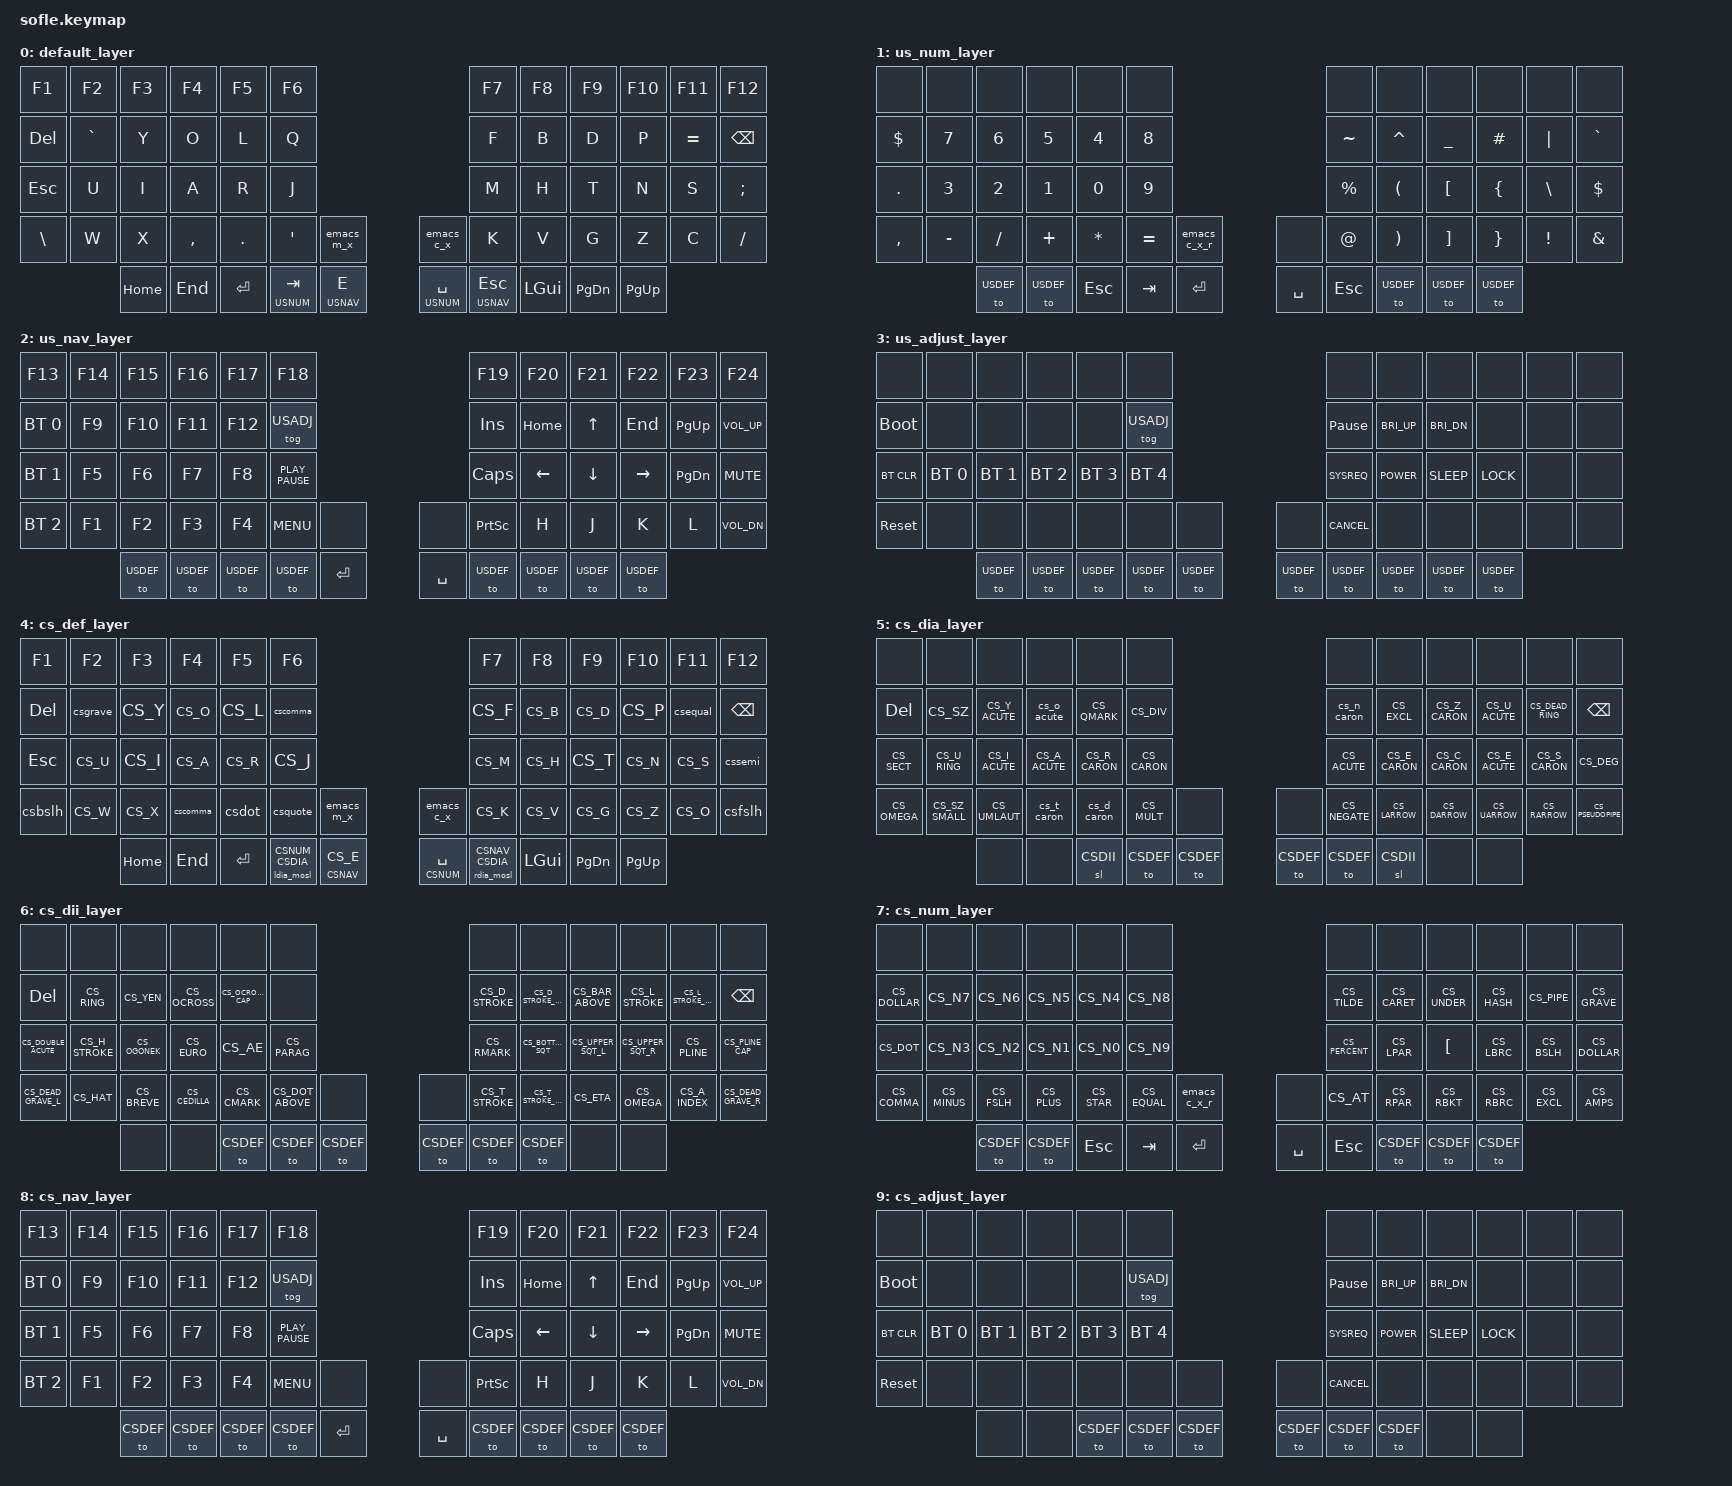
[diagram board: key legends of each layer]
/*
 * Copyright (c) 2020 The ZMK Contributors
 *
 * SPDX-License-Identifier: MIT
 */

#include <behaviors.dtsi>
#include <dt-bindings/zmk/keys.h>
#include <dt-bindings/zmk/bt.h>

// Czech Linux keyboard
#include "keys_cs.h"

// Layer numbers
#define USDEF 0
#define USNUM 1
#define USNAV 2
#define USADJ 3
#define CSDEF 4
#define CSDIA 5
#define CSDII 6
#define CSNUM 7
#define CSNAV 8
#define CSADJ 9

// Other number definitions
#define TAPPING_TERM 150
#define SHIFT_TAP_MS 170
#define QUICK_TAP_MS 110
#define PRIOR_IDLE_MS 150
#define COMBO_TIME_MS 25

// Behavior customizations
// settings and homerow mods inspired by https://github.com/urob/zmk-config/

&sk {
    release-after-ms = <900>;
    quick-release;
};

&sl {
    ignore-modifiers;
};

&lt {
    flavor = "balanced";
    tapping-term-ms = <TAPPING_TERM>;
    quick-tap-ms = <QUICK_TAP_MS>;
};

&mt {
    quick_tap_ms = <QUICK_TAP_MS>;
};

// ZMK feature macros
// https://github.com/filterpaper/zmk-config

//additional  arguments for hold-trigger-key-positions and hold-trigger-on-release
// customizable hold-tap for keypress
#define HTK(name, tap_flavor, tap_term, ...)    \
  name: name##_hold_tap {                       \
    flavor          = #tap_flavor;              \
    compatible      = "zmk,behavior-hold-tap";  \
    tapping-term-ms = <tap_term>;               \
    quick-tap-ms    = <QUICK_TAP_MS>;           \
    require-prior-idle-ms = <PRIOR_IDLE_MS>;    \
    #binding-cells  = <2>;                      \
    bindings        = <&kp>, <&kp>;             \
    __VA_ARGS__                                 \
      };

// customizable hold-tap for sticky modifier
// first modifier
// second sticky modifier
#define HTKPSK(name, tap_flavor, tap_term, ...)    \
  name: name##_hold_tap {                       \
    flavor          = #tap_flavor;              \
    compatible      = "zmk,behavior-hold-tap";  \
    tapping-term-ms = <tap_term>;               \
    quick-tap-ms    = <QUICK_TAP_MS>;           \
    require-prior-idle-ms = <PRIOR_IDLE_MS>;    \
    #binding-cells  = <2>;                      \
    bindings        = <&kp>, <&sk>;             \
    __VA_ARGS__                                 \
      };


// customizeble hold-tap for any behavior
#define HTMOSL(name, tap_flavor, tap_term, ...) \
  name: name##_hold_tap {                       \
    flavor          = #tap_flavor;              \
    compatible      = "zmk,behavior-hold-tap";  \
    tapping-term-ms = <tap_term>;               \
    quick-tap-ms    = <QUICK_TAP_MS>;           \
    require-prior-idle-ms = <PRIOR_IDLE_MS>;    \
    #binding-cells = <2>;                       \
    bindings        = <&mo>, <&sl>;             \
    __VA_ARGS__                                 \
      };

// one-line combos
#define COMBO(name, pos, lrs, kp)               \
  combo_##name {                                \
    timeout-ms    = <25>;                       \
    bindings      = <kp>;                       \
    key-positions = <pos>;                      \
    layers        = <lrs>;                      \
  };

// one-line macros
#define MACRO(name, ...)                        \
  name: name##_macro {                          \
    compatible     = "zmk,behavior-macro";      \
    tap-ms         = <1>;                       \
    wait-ms        = <1>;                       \
    #binding-cells = <0>;                       \
    bindings       = __VA_ARGS__                \
  };

/ {
    macros {
        // Czech symbols
        MACRO(cs_t_caron, <&macro_tap &kp CS_CARON &kp CS_T>;)
        MACRO(cs_n_caron, <&macro_tap &kp CS_CARON &kp CS_N>;)
        MACRO(cs_d_caron, <&macro_tap &kp CS_CARON &kp CS_D>;)
        MACRO(cs_o_acute, <&macro_tap &kp CS_ACUTE &kp CS_O>;)
        // US shortcuts
        MACRO(us_th, <&macro_tap &kp T &kp H>;)
        MACRO(us_ing, <&macro_tap &kp I &kp N &kp G>;)
        MACRO(us_and, <&macro_tap &kp SPACE &kp A &kp N &kp D &kp SPACE>;)
        // Emacs convenience macros
        MACRO(emacs_c_x, <&macro_press &kp LCTRL>, <&macro_tap &kp X>, <&macro_release &kp LCTRL>;)
        MACRO(emacs_c_y, <&macro_press &kp LCTRL>, <&macro_tap &kp Y>, <&macro_release &kp LCTRL>;)
        MACRO(emacs_c_z, <&macro_press &kp LCTRL>, <&macro_tap &kp Y>, <&macro_release &kp LCTRL>;)
        MACRO(emacs_c_x_e, <&macro_press &kp LCTRL> , <&macro_tap &kp X> , <&macro_release &kp LCTRL> , <&macro_tap &kp E>;)
        MACRO(emacs_c_w, <&macro_press &kp LCTRL> , <&macro_tap &kp W> , <&macro_release &kp LCTRL>;)
        MACRO(emacs_c_x_u, <&macro_press &kp LCTRL> , <&macro_tap &kp X> , <&macro_release &kp LCTRL> , <&macro_tap &kp U>;)
        MACRO(emacs_c_x_r, <&macro_press &kp LCTRL> , <&macro_tap &kp X> , <&macro_release &kp LCTRL> , <&macro_tap &kp R>;)
        MACRO(emacs_m_x, <&macro_press &kp LALT> , <&macro_tap &kp X> , <&macro_release &kp LALT>;)
        MACRO(emacs_m_w, <&macro_press &kp LALT> , <&macro_tap &kp W> , <&macro_release &kp LALT>;)
        MACRO(emacs_m_y, <&macro_press &kp LALT> , <&macro_tap &kp Y> , <&macro_release &kp LALT>;)
        MACRO(emacs_m_z, <&macro_press &kp LALT> , <&macro_tap &kp Y> , <&macro_release &kp LALT>;)
        // General convenience macros
        MACRO(input_lng, <&macro_press &kp LCTRL> , <&macro_press &kp LALT> , <&macro_tap &kp K> , <&macro_release &kp LCTRL> , <&macro_release &kp LALT>;)
    };

    behaviors {
            HTK(lhrm, balanced, TAPPING_TERM)
            HTK(rhrm, balanced, TAPPING_TERM)
            HTMOSL(ldia_mosl, hold-preferred, TAPPING_TERM)
            HTMOSL(rdia_mosl, hold-preferred, TAPPING_TERM)
            HTKPSK(kpsk, balanced, TAPPING_TERM)
            csquote: csquote {                                      
                //label          = "csquote";
                compatible     = "zmk,behavior-mod-morph";          
                #binding-cells = <0>;                               
                bindings       = <&kp CS_SQT>, <&kp CS_DQT>;        
                mods           = <(MOD_LSFT|MOD_RSFT)>;             
            };
            csbslh: csbslh {                                        
                //label          = "csbslh";
                compatible     = "zmk,behavior-mod-morph";          
                #binding-cells = <0>;                               
                bindings       = <&kp CS_BSLH>, <&kp CS_PIPE>;      
                mods           = <(MOD_LSFT|MOD_RSFT)>;             
            };
            csdot: csdot {                                          
                //label          = "csdot";
                compatible     = "zmk,behavior-mod-morph";          
                #binding-cells = <0>;                               
                bindings       = <&kp CS_DOT>, <&kp CS_LT>;         
                mods           = <(MOD_LSFT|MOD_RSFT)>;             
            };
            cscomma: cscomma {                                      
                //label          = "cscomma";
                compatible     = "zmk,behavior-mod-morph";          
                #binding-cells = <0>;                               
                bindings       = <&kp CS_COMMA>, <&kp CS_GT>;       
                mods           = <(MOD_LSFT|MOD_RSFT)>;             
            };
            csfslh: csfslh {                                        
                //label          = "csfslh";
                compatible     = "zmk,behavior-mod-morph";          
                #binding-cells = <0>;                               
                bindings       = <&kp CS_FSLH>, <&kp CS_QMARK>;     
                mods           = <(MOD_LSFT|MOD_RSFT)>;             
            };
            cssemi: cssemi {                                        
                //label          = "cssemi";
                compatible     = "zmk,behavior-mod-morph";          
                #binding-cells = <0>;                               
                bindings       = <&kp CS_SEMI>, <&kp CS_COLON>;     
                mods           = <(MOD_LSFT|MOD_RSFT)>;             
            };
            csgrave: csgrave {                                      
                //label          = "cssemi";
                compatible     = "zmk,behavior-mod-morph";          
                #binding-cells = <0>;                               
                bindings       = <&kp CS_GRAVE>, <&kp CS_TILDE>;    
                mods           = <(MOD_LSFT|MOD_RSFT)>;             
            };
            csequal: csequal {                                      
                //label          = "cssemi";
                compatible     = "zmk,behavior-mod-morph";          
                #binding-cells = <0>;                               
                bindings       = <&kp CS_EQUAL>, <&kp CS_PLUS>;     
                mods           = <(MOD_LSFT|MOD_RSFT)>;             
            };
        };

    combos {
  // ------------------------------------------------------------------------------------------------------------
  // |  0    |  1  |  2  |  3   |  4   |  5   |          x         |  6   |  7    |  8    |  9   |  10   |  11   |
  // |  12   |  13 |  14 |  15  |  16  |  17  |          x         |  18  |  19   |  20   |  21  |  22   |  23   |
  // |  24   |  25 |  26 |  27  |  28  |  29  |          x         |  30  |  31   |  32   |  33  |  34   |  35   |
  // |  36   |  37 |  38 |  39  |  40  |  41  |  42    | x |  43   |  44  |  45   |  46   |  47  |  48   |  49   |
  //               |  50 |  51  |  52  |  53  |  54    | x |  55   |  56  |  57   |  58   |  59  |
  //
  // ------------------------------------------------------------------------------------------------------------
  // |  0    |  1  |  2  |  3   |  4   |  5   |          x         |  6   |  7    |  8    |  9   |  10   |  11   |
  // |    R A L T  |  P L U S   |  E X C L    |          x         |  Q M A R K   |   S T A R    |    R A L T    |
  // |   TOG  LANG |   T A B    | U N D E R   |          x         |  C A R E T   |   E N T E R  |    L G U I    |
  // |   TOG   NAV |  M I N U S |    A T      |  42    | x |  43   |   H A S H    |   F S L H    |   TOG   NUM   |
  //               |  50 |  51  |  52  |  53  |  54    | x |  55   |  56  |  57   |  58   |  59  |
  //
  // ------------------------------------------------------------------------------------------------------------
  // |  0    |  1  |  2  |   3   |  4  |  5   |          x         |  6   |   7   |  8    |  9  |   10   |  11   |
  // |  12   |  13 |  14 |   C O P Y   |  17  |          x         |  18  |   L B K T     |   R B K T    |  23   |
  // |  24   |  DOLLAR   |  P A S T E  |  29  |          x         |  30  |   L P A R     |   R P A R    |  35   |
  // |  36   |  PERCENT  |   A M P S   |  41  |  42    | x |  43   |  44  |   L B R C     |   R B R C    |  49   |
  //               |  50 |  51  |  52  |  53  |  54    | x |  55   |  56  |  57   |  58   |  59  |
  //
    compatible = "zmk,combos";
    COMBO(lag, 12 13, USDEF USNUM CSDEF CSNUM, &kp RALT)
    COMBO(rag, 22 23, USDEF USNUM CSDEF CSNUM, &kp RALT)
    COMBO(csdeflayer, 24 25, USDEF, &to CSDEF)
    COMBO(usdeflayer, 24 25, CSDEF, &to USDEF)
    COMBO(usnavlayer, 36 37, USDEF, &to USNAV)
    COMBO(usnavretrn, 36 37, USNAV, &to USDEF)
    COMBO(usnumlayer, 46 47, USDEF, &to USNUM)
    COMBO(usnumretrn, 46 47, USNUM, &to USDEF)
    COMBO(csnavlayer, 36 37, CSDEF, &to CSNAV)
    COMBO(csnavretrn, 36 37, CSNAV, &to CSDEF)
    COMBO(csnumlayer, 46 47, CSDEF, &to CSNUM)
    COMBO(csnumretrn, 46 47, CSNUM, &to CSDEF)
    COMBO(copy, 15 16, USDEF CSDEF, &kp K_COPY)
    COMBO(paste, 27 28, USDEF CSDEF, &kp K_PASTE)
    COMBO(tab, 26 27, USDEF CSDEF, &kp TAB)
    COMBO(enter, 32 33, USDEF CSDEF, &kp ENTER)

  // ------------------------------------------------------------------------------------------------------------
  // |  0    |  1  |  2  |  3   |  4   |  5   |          x         |  6   |  7    |  8    |  9   |  10   |  11   |
  // | TIL   |  RG |  LA |  LC  |  LS  |  COL |          x         |  DQ  |  LS   |  LC   |  LA  |  RG   |  23   |
  // | DE  L |  UI |  LT |  TRL |  HFT |   ON |          x         |   T  |  HFT  |  TRL  |  LT  |  UI   |   G   |
  // |  36   |  37 |  38 |  39  |  40  |  41  |  42    | x |  43   |  44  |  45   |  46   |  47  |  48   |  49   |
  //               |  50 |  51  |  52  |  53  |  54    | x |  55   |  56  |  57   |  58   |  59  |
  //
    COMBO(crshft, 19 31, USDEF USNUM USNAV CSDEF CSNUM CSNAV, &kpsk RSHFT RSHFT)
    COMBO(clshft, 16 28, USDEF USNUM USNAV CSDEF CSNUM CSNAV, &kpsk LSHFT LSHFT)
    COMBO(crctrl, 20 32, USDEF USNUM USNAV CSDEF CSNUM CSNAV, &kpsk RCTRL RCTRL)
    COMBO(clctrl, 15 27, USDEF  USNUM USNAV CSDEF CSNUM CSNAV, &kpsk LCTRL LCTRL)
    COMBO(cllalt, 21 33, USDEF USNUM USNAV CSDEF CSNUM CSNAV, &kpsk LALT LALT)
    COMBO(crlalt, 14 26, USDEF USNUM USNAV CSDEF CSNUM CSNAV, &kpsk LALT LALT)
    COMBO(clgui, 22 34, USDEF USNUM USNAV CSDEF CSNUM CSNAV, &kpsk LGUI LGUI)
    COMBO(crgui, 13 25, USDEF USNUM USNAV CSDEF CSNUM CSNAV, &kpsk LGUI LGUI)
    COMBO(ccrgui, 34 35, USDEF USNUM USNAV CSDEF CSNUM CSNAV, &kp LGUI)
    COMBO(usstar, 20 21, USDEF, &kp STAR)
    COMBO(csstar, 20 21, CSDEF, &kp CS_STAR)
    COMBO(usfslh, 44 45, USDEF, &kp FSLH)
    COMBO(csfslh, 44 45, CSDEF, &kp CS_FSLH)
    COMBO(usplus, 14 15, USDEF, &kp PLUS)
    COMBO(csplus, 14 15, CSDEF, &kp CS_PLUS)
    COMBO(usminus, 38 39, USDEF, &kp MINUS)
    COMBO(csminus, 38 39, CSDEF, &kp CS_MINUS)
    COMBO(uscaret, 30 31, USDEF, &kp CARET)
    COMBO(cscaret, 30 31, CSDEF, &kp CS_CARET)
    COMBO(usunder, 28 29, USDEF, &kp UNDER)
    COMBO(csunder, 28 29, CSDEF, &kp CS_UNDER)
    COMBO(usdollr, 25 26, USDEF, &kp DOLLAR)
    COMBO(csdollr, 25 26, CSDEF, &kp CS_DOLLAR)
    COMBO(usamps, 39 40, USDEF, &kp AMPS)
    COMBO(csamps, 39 40, CSDEF, &kp CS_AMPS)
    COMBO(usat, 40 41, USDEF, &kp AT)
    COMBO(csat, 40 41, CSDEF, &kp CS_AT)
    COMBO(usprcnt, 37 38, USDEF, &kp PERCENT)
    COMBO(csprcnt, 37 38, CSDEF, &kp CS_PERCENT)
    COMBO(ushash, 42 43, USDEF, &kp HASH)
    COMBO(cshash, 42 43, CSDEF, &kp CS_HASH)
    COMBO(uslpar, 31 32, USDEF, &kp LPAR)
    COMBO(cslpar, 31 32, CSDEF, &kp CS_LPAR)
    COMBO(usrpar, 33 34, USDEF, &kp RPAR)
    COMBO(csrpar, 33 34, CSDEF, &kp CS_RPAR)
    COMBO(uslbkt, 19 20, USDEF, &kp LBKT)
    COMBO(cslbkt, 19 20, CSDEF, &kp CS_LBKT)
    COMBO(usrbkt, 21 22 , USDEF, &kp RBKT)
    COMBO(csrbkt, 21 22 , CSDEF, &kp CS_RBKT)
    COMBO(uslbrc, 43 44, USDEF, &kp LBRC)
    COMBO(cslbrc, 43 44, CSDEF, &kp CS_LBRC)
    COMBO(usrbrc, 45 46, USDEF, &kp RBRC)
    COMBO(csrbrc, 45 46, CSDEF, &kp CS_RBRC)
    COMBO(usexcl, 16 17, USDEF, &kp EXCL)
    COMBO(csexcl, 16 17, CSDEF, &kp CS_EXCL)
    COMBO(usqmark, 18 19, USDEF, &kp QMARK)
    COMBO(csqmark, 18 19, CSDEF, &kp CS_QMARK)
    COMBO(ustilde, 12 24, USDEF, &kp TILDE)
    COMBO(cstilde, 12 24, CSDEF, &kp CS_TILDE)
    COMBO(uslt, 24 36, USDEF, &kp LT)
    COMBO(cslt, 24 36, CSDEF, &kp CS_LT)
    COMBO(usgt, 35 47, USDEF, &kp GT)
    COMBO(csgt, 35 47, CSDEF, &kp CS_GT)
    COMBO(uscolon, 17 29, USDEF, &kp COLON)
    COMBO(cscolon, 17 29, CSDEF, &kp CS_COLON)
    COMBO(usdqt, 18 30, USDEF, &kp DQT)
    COMBO(csdqt, 18 30, CSDEF, &kp CS_DQT)
    COMBO(uszero, 31 45, USDEF, &kp N0)
    COMBO(cszero, 31 45, CSDEF, &kp CS_N0)
    COMBO(ustwo, 32 46, USDEF, &kp N2)
    COMBO(cstwo, 32 46, CSDEF, &kp CS_N2)
    COMBO(usfour, 33 47, USDEF, &kp N4)
    COMBO(csfour, 33 47, CSDEF, &kp CS_N4)
    COMBO(ussix, 34 48, USDEF, &kp N6)
    COMBO(cssix, 34 48, CSDEF, &kp CS_N6)
    COMBO(useight, 29 41, USDEF, &kp N8)
    COMBO(cseight, 29 41, CSDEF, &kp CS_N8)
    COMBO(usone, 28 40, USDEF, &kp N1)
    COMBO(csone, 28 40, CSDEF, &kp CS_N1)
    COMBO(usthree, 27 39, USDEF, &kp N3)
    COMBO(csthree, 27 39, CSDEF, &kp CS_N3)
    COMBO(usfive, 26 38, USDEF, &kp N5)
    COMBO(csfive, 26 38, CSDEF, &kp CS_N5)
    COMBO(usseven, 25 37, USDEF, &kp N7)
    COMBO(csseven, 25 37, CSDEF, &kp CS_N7)
    COMBO(usnine, 30 44, USDEF, &kp N9)
    COMBO(csnine, 30 44, CSDEF, &kp CS_N9)    
  };

    keymap {
        compatible = "zmk,keymap";

        default_layer {
// ------------------------------------------------------------------------------------------------------------
// |  F1   | F2  | F3  |  F4  |  F5  |  F6  |                   |  F7  |  F8   |  F9  |  F10 |  F11  |  F12  |
// |  DEL  | `↑~ |  Y  |  O   |  L   |  Q   |                   |  F   |  B   |  D    |  P   |  =↑+  | BKSPC |
// |  ESC  |  U  |  I  |  A   |  R   |  J   |                   |  M   |  H   |  T    |  N   |   S   |  ;↑:  |
// |  \↑|  |  W  |  X  | ,↑<  | .↑>  | '↑"  |        |  |       |  K   |  V   |  G    |  Z   |   C   |  /↑?  |
//               |     |      | MO   |  MO 1|  SPACE |  | ENTER | MO 5 | MO    |       | GUI  |
            bindings = < 
&kp F1   &kp F2    &kp F3   &kp F4    &kp F5    &kp F6                                        &kp F7        &kp F8   &kp F9    &kp F10   &kp F11   &kp F12
&kp DEL  &kp GRAVE &kp Y    &kp O     &kp L     &kp Q                                         &kp F         &kp B    &kp D     &kp P     &kp EQUAL &kp BSPC
&kp ESC  &kp U     &kp I    &kp A     &kp R     &kp J                                         &kp M         &kp H    &kp T     &kp N     &kp S     &kp SEMI
&kp BSLH &kp W     &kp X    &kp COMMA &kp DOT   &kp SQT       &emacs_m_x     &emacs_c_x       &kp K         &kp V    &kp G     &kp Z     &kp C     &kp FSLH
&kp HOME &kp END   &kp ENTER &lt USNUM TAB &lt USNAV E    &lt USNUM SPACE  &lt USNAV ESC &kp LGUI &kp PG_DN &kp PG_UP
            >;

            //sensor-bindings = <&inc_dec_kp C_VOL_UP C_VOL_DN &inc_dec_kp PG_UP PG_DN>;
        };

        us_num_layer {
// ------------------------------------------------------------------------------------------------------------
// |  F1   |  F2 |  F3 |  F4  |  F5  |  F6  |                   |  F7  |  F8   |  F9   |  F10 |  F11  |  F12  |
// |   $   |  7  |  6  |  5   |  4   |  8   |                   |  ~   |  ^    |  _    |  #   |   |   |  `    |
// |   .   |  3  |  2  |  1   |  0   |  9   |                   |  %   |  (    |  [    |  {   |   \   |  $    |
// |   ,   |  -  |  /  |  +   |  *   |  =   |                   |  @   |  )    |  ]    |  }   |   !   |  &    |
//               |     |      |      |      |        |  |       |      |       |       |      |
            bindings = <
&none      &none     &none     &none     &none     &none                            &none       &none     &none     &none    &none    &none
&kp DOLLAR &kp N7    &kp N6    &kp N5    &kp N4    &kp N8                           &kp TILDE   &kp CARET &kp UNDER &kp HASH &kp PIPE &kp GRAVE
&kp DOT    &kp N3    &kp N2    &kp N1    &kp N0    &kp N9                           &kp PERCENT &kp LPAR  &kp LBKT  &kp LBRC &kp BSLH &kp DOLLAR
&kp COMMA  &kp MINUS &kp FSLH  &kp PLUS  &kp STAR  &kp EQUAL &emacs_c_x_r &none     &kp AT      &kp RPAR  &kp RBKT  &kp RBRC &kp EXCL &kp AMPS
&to USDEF &to USDEF &kp ESC   &kp TAB   &kp ENTER    &kp SPACE &kp ESC     &to USDEF &to USDEF &to USDEF
            >;

            //sensor-bindings = <&inc_dec_kp C_VOL_UP C_VOL_DN &inc_dec_kp PG_UP PG_DN>;
        };

        us_nav_layer {
                        bindings = <
&kp F13      &kp F14 &kp F15 &kp F16 &kp F17 &kp F18                           &kp F19   &kp F20   &kp F21  &kp F22   &kp F23   &kp F24
&bt BT_SEL 0 &kp F9  &kp F10 &kp F11 &kp F12 &tog USADJ                        &kp INS   &kp HOME  &kp UP   &kp END   &kp PG_UP &kp C_VOL_UP
&bt BT_SEL 1 &kp F5  &kp F6  &kp F7  &kp F8  &kp K_PLAY_PAUSE                  &kp CAPS  &kp LEFT  &kp DOWN &kp RIGHT &kp PG_DN &kp C_MUTE
&bt BT_SEL 2 &kp F1  &kp F2  &kp F3  &kp F4  &kp K_MENU       &none      &none &kp PSCRN &kp H     &kp J    &kp K     &kp L     &kp C_VOL_DN
&to USDEF   &to USDEF   &to USDEF  &to USDEF   &kp ENTER  &kp SPACE &to USDEF &to USDEF &to USDEF  &to USDEF
            >;
        };

        us_adjust_layer {
                        bindings = <
&none       &none        &none        &none        &none        &none                            &none           &none        &none        &none      &none  &none
&bootloader &none        &none        &none        &none        &tog USADJ                       &kp PAUSE_BREAK &kp C_BRI_UP &kp C_BRI_DN &none      &none  &none
&bt BT_CLR  &bt BT_SEL 0 &bt BT_SEL 1 &bt BT_SEL 2 &bt BT_SEL 3 &bt BT_SEL 4                     &kp SYSREQ      &kp K_POWER  &kp K_SLEEP  &kp K_LOCK &none  &none
&sys_reset  &none        &none        &none        &none        &none        &none     &none     &kp K_CANCEL    &none        &none        &none      &none  &none
&to USDEF    &to USDEF    &to USDEF    &to USDEF    &to USDEF &to USDEF &to USDEF       &to USDEF    &to USDEF    &to USDEF
             >;
        };

        cs_def_layer {
            bindings = <
&kp F1      &kp F2   &kp F3          &kp F4           &kp F5                 &kp F6                                     &kp F7     &kp F8                 &kp F9           &kp F10         &kp F11         &kp F12
&kp DEL     &csgrave &kp CS_Y        &kp CS_O         &kp CS_L               &cscomma                                   &kp CS_F   &kp CS_B               &kp CS_D         &kp CS_P        &csequal        &kp BSPC
&kp ESC     &kp CS_U &kp CS_I        &kp CS_A         &kp CS_R               &kp CS_J                                   &kp CS_M   &kp CS_H               &kp CS_T         &kp CS_N        &kp CS_S        &cssemi
&csbslh     &kp CS_W &kp CS_X        &cscomma         &csdot                 &csquote  &emacs_m_x      &emacs_c_x       &kp CS_K   &kp CS_V               &kp CS_G         &kp CS_Z        &kp CS_O        &csfslh
&kp HOME    &kp END  &kp ENTER &ldia_mosl CSNUM CSDIA &lt CSNAV CS_E  &lt CSNUM SPACE  &rdia_mosl CSNAV CSDIA  &kp LGUI &kp PG_DN &kp PG_UP
            >;

            //sensor-bindings = <&inc_dec_kp C_VOL_UP C_VOL_DN &inc_dec_kp PG_UP PG_DN>;
        };

        cs_dia_layer {
// ------------------------------------------------------------------------------------------------------------
// |  DEL  |  ß  |  ý  |  ó   |  ?   |  ÷   |                   |  ň   |  !   |  ž    |  ú   |   °   | BKSPC |
// |   §   |  ů  |  í  |  á   |  ř   |  ˇ   |                   |  ´   |  ě   |  č    |  é   |   š   |   º   |
// |   Ω   |  ẞ  |  ¨  |  ť   |  ď   |  ×   |                   |  ı   |  ←   |  ↓    |  ↑   |   →   |   ¦   |
//                            |      |      |  SPACE |  | ENTER |      |      |
                         bindings = <
&none             &none            &none          &none          &none             &none                               &none            &none                &none              &none              &none               &none
&kp DEL           &kp CS_SZ        &kp CS_Y_ACUTE &cs_o_acute    &kp CS_QMARK      &kp CS_DIV                          &cs_n_caron      &kp CS_EXCL          &kp CS_Z_CARON     &kp CS_U_ACUTE     &kp CS_DEAD_RING    &kp BSPC
&kp CS_SECT       &kp CS_U_RING    &kp CS_I_ACUTE &kp CS_A_ACUTE &kp CS_R_CARON    &kp CS_CARON                        &kp CS_ACUTE     &kp CS_E_CARON       &kp CS_C_CARON     &kp CS_E_ACUTE     &kp CS_S_CARON      &kp CS_DEG
&kp CS_OMEGA      &kp CS_SZ_SMALL  &kp CS_UMLAUT  &cs_t_caron    &cs_d_caron       &kp CS_MULT   &none      &none      &kp CS_NEGATE    &kp CS_LARROW        &kp CS_DARROW      &kp CS_UARROW      &kp CS_RARROW       &kp CS_PSEUDOPIPE
&none          &none          &sl CSDII         &to CSDEF     &to CSDEF  &to CSDEF  &to CSDEF        &sl CSDII            &none              &none
                >;
        };

                cs_dii_layer {
// ------------------------------------------------------------------------------------------------------------
// |  DEL  |  °  |  ¥  |  ø   |  Ø   |      |                   |  đ   |  Ð   |  ¯    |  ł   |   Ł   | BKSPC |
// |   ˝   |  Ħ  |  ˛  |  €   |  Æ   |  ¶   |                   |  ®   |  ‚   |  ‘    |  ’   |   þ   |   Þ   |
// |   `   |  ^  |  ˘  |  ¸   |  ©   |  ˙   |                   |  ŧ   |  Ŧ   |  Ŋ    |  Ω   |   ª   |   ´   |
//                            |      |      |  SPACE |  | ENTER |      |      |
                         bindings = <
&none               &none           &none         &none          &none             &none                                 &none            &none                &none              &none              &none               &none
&kp DEL             &kp CS_RING     &kp CS_YEN    &kp CS_OCROSS  &kp CS_OCROSS_CAP &none                                 &kp CS_D_STROKE  &kp CS_D_STROKE_CAP  &kp CS_BAR_ABOVE   &kp CS_L_STROKE    &kp CS_L_STROKE_CAP &kp BSPC
&kp CS_DOUBLE_ACUTE &kp CS_H_STROKE &kp CS_OGONEK &kp CS_EURO    &kp CS_AE         &kp CS_PARAG                          &kp CS_RMARK     &kp CS_BOTTOM_SQT    &kp CS_UPPER_SQT_L &kp CS_UPPER_SQT_R &kp CS_PLINE        &kp CS_PLINE_CAP
&kp CS_DEAD_GRAVE_L &kp CS_HAT      &kp CS_BREVE  &kp CS_CEDILLA &kp CS_CMARK      &kp CS_DOT_ABOVE &none      &none     &kp CS_T_STROKE  &kp CS_T_STROKE_CAP  &kp CS_ETA         &kp CS_OMEGA       &kp CS_A_INDEX      &kp CS_DEAD_GRAVE_R
&none          &none         &to CSDEF         &to CSDEF        &to CSDEF  &to CSDEF &to CSDEF        &to CSDEF            &none              &none
                >;
        };

        cs_num_layer {
// ------------------------------------------------------------------------------------------------------------
// |  F1   |  F2 |  F3 |  F4  |  F5  |  F6  |                   |  F7  |  F8   |  F9   |  F10 |  F11  |  F12  |
// |   $   |  7  |  6  |  5   |  4   |  8   |                   |  ~   |  ^    |  _    |  #   |   |   |   `   |
// |   .   |  3  |  2  |  1   |  0   |  9   |                   |  %   |  (    |  [    |  {   |   \   |   $   |
// |   ,   |  -  |  /  |  +   |  *   |  *   |        |  |       |  @   |  )    |  ]    |  }   |   !   |   &   |
//               |     |      |      |      |        |  |       |      |       |       |      |
            bindings = <
&none         &none        &none       &none       &none       &none                               &none          &none        &none        &none       &none       &none
&kp CS_DOLLAR &kp CS_N7    &kp CS_N6   &kp CS_N5   &kp CS_N4   &kp CS_N8                           &kp CS_TILDE   &kp CS_CARET &kp CS_UNDER &kp CS_HASH &kp CS_PIPE &kp CS_GRAVE
&kp CS_DOT    &kp CS_N3    &kp CS_N2   &kp CS_N1   &kp CS_N0   &kp CS_N9                           &kp CS_PERCENT &kp CS_LPAR  &kp LBKT     &kp CS_LBRC &kp CS_BSLH &kp CS_DOLLAR
&kp CS_COMMA  &kp CS_MINUS &kp CS_FSLH &kp CS_PLUS &kp CS_STAR &kp CS_EQUAL &emacs_c_x_r &none     &kp CS_AT      &kp CS_RPAR  &kp CS_RBKT  &kp CS_RBRC &kp CS_EXCL &kp CS_AMPS
&to CSDEF   &to CSDEF   &kp ESC     &kp TAB      &kp ENTER    &kp SPACE &kp ESC        &to CSDEF    &to CSDEF    &to CSDEF
            >;

            //sensor-bindings = <&inc_dec_kp C_VOL_UP C_VOL_DN &inc_dec_kp PG_UP PG_DN>;
        };

        cs_nav_layer {
                        bindings = <
&kp F13      &kp F14 &kp F15 &kp F16 &kp F17    &kp F18                               &kp F19   &kp F20   &kp F21  &kp F22   &kp F23   &kp F24
&bt BT_SEL 0 &kp F9  &kp F10 &kp F11 &kp F12    &tog USADJ                            &kp INS   &kp HOME  &kp UP   &kp END   &kp PG_UP &kp C_VOL_UP
&bt BT_SEL 1 &kp F5  &kp F6  &kp F7  &kp F8     &kp K_PLAY_PAUSE                      &kp CAPS  &kp LEFT  &kp DOWN &kp RIGHT &kp PG_DN &kp C_MUTE
&bt BT_SEL 2 &kp F1  &kp F2  &kp F3  &kp F4     &kp K_MENU       &none      &none     &kp PSCRN &kp H     &kp J    &kp K     &kp L     &kp C_VOL_DN
&to CSDEF   &to CSDEF &to CSDEF  &to CSDEF        &kp ENTER  &kp SPACE &to CSDEF &to CSDEF &to CSDEF    &to CSDEF
            >;
        };

        cs_adjust_layer {
                        bindings = <
&none       &none        &none        &none        &none        &none                            &none           &none        &none        &none      &none  &none
&bootloader &none        &none        &none        &none        &tog USADJ                       &kp PAUSE_BREAK &kp C_BRI_UP &kp C_BRI_DN &none      &none  &none
&bt BT_CLR  &bt BT_SEL 0 &bt BT_SEL 1 &bt BT_SEL 2 &bt BT_SEL 3 &bt BT_SEL 4                     &kp SYSREQ      &kp K_POWER  &kp K_SLEEP  &kp K_LOCK &none  &none
&sys_reset  &none        &none        &none        &none        &none        &none     &none     &kp K_CANCEL    &none        &none        &none      &none  &none
                         &none        &none        &to CSDEF    &to CSDEF    &to CSDEF &to CSDEF &to CSDEF       &to CSDEF    &none        &none
             >;
        };
    };
};
